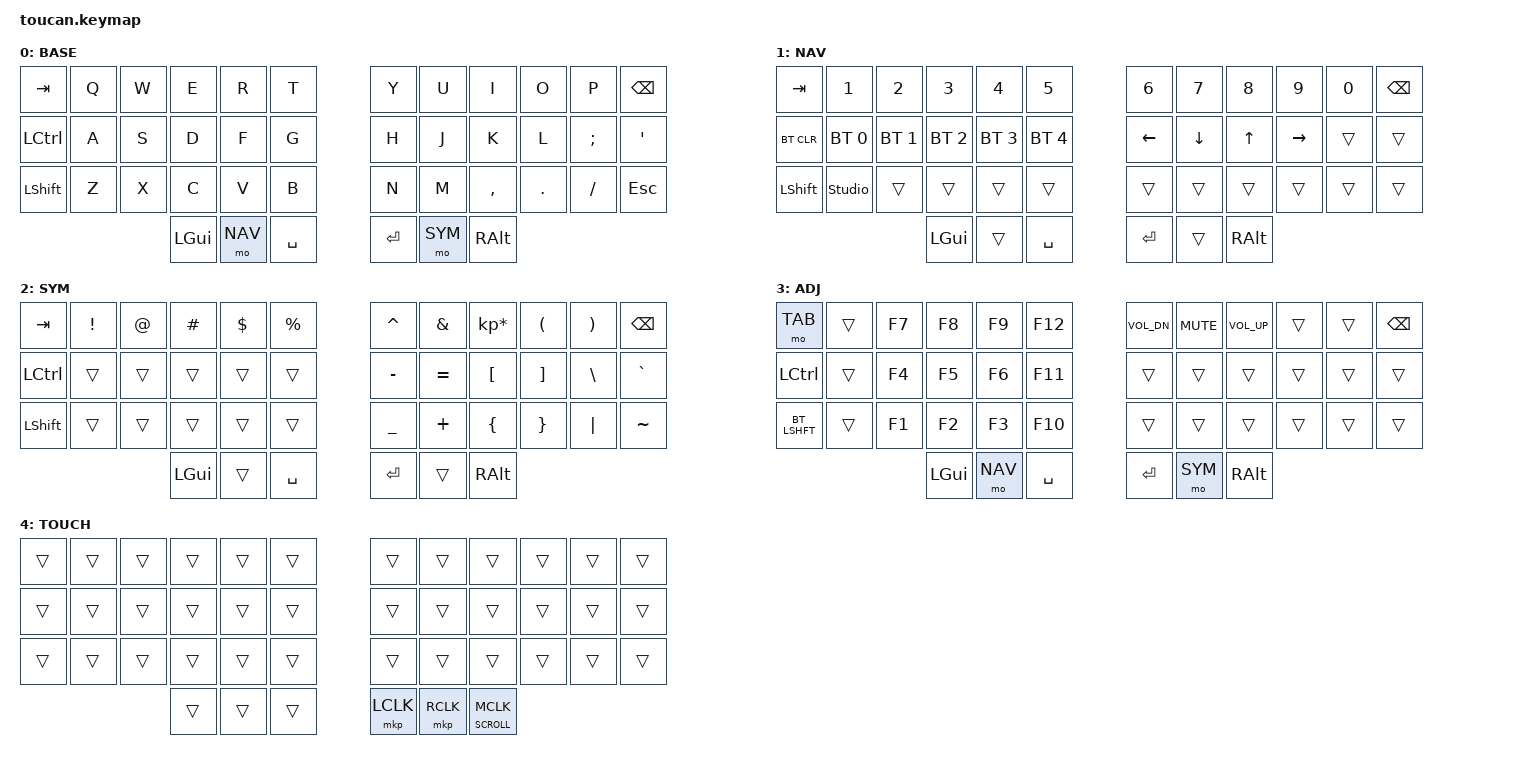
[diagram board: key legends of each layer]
#include <behaviors.dtsi>
#include <input/processors.dtsi>
#include <dt-bindings/zmk/keys.h>
#include <dt-bindings/zmk/bt.h>
#include <dt-bindings/zmk/outputs.h>
#include <dt-bindings/zmk/pointing.h>
#include <dt-bindings/zmk/input_transform.h>

#define BASE 0
#define NAV  1
#define SYM  2
#define ADJ  3
#define TOUCH 4
#define SCROLL 5

/ {
    behaviors {
        mclk_scroll: mclk_scroll {
            compatible = "zmk,behavior-hold-tap";
            #binding-cells = <2>;
            flavor = "balanced";
            tapping-term-ms = <200>;
            bindings = <&mo>, <&mkp>;
        };
    };

    conditional_layers {
        compatible = "zmk,conditional-layers";
        tri_layer {
            if-layers = <NAV SYM>;
            then-layer = <ADJ>;
        };
    };

#if 0 
    Not qutie ready - test with the exsitng toucan dtsi first...  Probably move the scroller stuff into this file
    touch_listener: touch_listener {
        compatible = "zmk,input-behavior-listener";
        device = <&glidepoint_split>;
        layers = <BASE>; // Only listen on default layer

        /* The binding logic: */
        evt-types = <INPUT_EV_KEY>;
        key-codes = <INPUT_BTN_TOUCH>; // Code 330: "Finger is on pad"
        bindings  = <&mo TOUCH>;       // Activate TOUCH layer while held
    };
#endif

    keymap {
        compatible = "zmk,keymap";

        base {
            display-name = "BASE";
            bindings = <
                &kp TAB   &kp Q &kp W &kp E &kp R &kp T   &kp Y &kp U  &kp I     &kp O   &kp P    &kp BSPC
                &kp LCTRL &kp A &kp S &kp D &kp F &kp G   &kp H &kp J  &kp K     &kp L   &kp SEMI &kp SQT
                &kp LSHFT &kp Z &kp X &kp C &kp V &kp B   &kp N &kp M  &kp COMMA &kp DOT &kp FSLH &kp ESC
                                &kp LGUI &mo NAV &kp SPACE   &kp RET &mo SYM &kp RALT
            >;
        };

        nav {
            display-name = "NAV";
            bindings = <
                &kp TAB     &kp N1          &kp N2       &kp N3       &kp N4       &kp N5         &kp N6   &kp N7   &kp N8 &kp N9    &kp N0 &kp BSPC
                &bt BT_CLR  &bt BT_SEL 0    &bt BT_SEL 1 &bt BT_SEL 2 &bt BT_SEL 3 &bt BT_SEL 4   &kp LEFT &kp DOWN &kp UP &kp RIGHT &trans &trans
                &kp LSHFT   &studio_unlock  &trans       &trans       &trans       &trans         &trans   &trans   &trans &trans    &trans &trans
                                                &kp LGUI     &trans       &kp SPACE      &kp RET  &trans   &kp RALT
            >;
        };

        sym {
            display-name = "SYM";
            bindings = <
                &kp TAB   &kp EXCL &kp AT &kp HASH &kp DLLR &kp PRCNT   &kp CARET &kp AMPS  &kp KP_MULTIPLY &kp LPAR &kp RPAR &kp BSPC
                &kp LCTRL &trans   &trans &trans   &trans   &trans      &kp MINUS &kp EQUAL &kp LBKT        &kp RBKT &kp BSLH &kp GRAVE
                &kp LSHFT &trans   &trans &trans   &trans   &trans      &kp UNDER &kp PLUS  &kp LBRC        &kp RBRC &kp PIPE &kp TILDE
                                          &kp LGUI &trans   &kp SPACE   &kp RET   &trans    &kp RALT
            >;
        };

        adj {
            display-name = "ADJ";
            bindings = <
                &mo TAB   &trans &kp F7 &kp F8 &kp F9 &kp F12   &kp C_VOL_DN &kp C_MUTE  &kp C_VOL_UP &trans &trans &kp BSPC
                &kp LCTRL &trans &kp F4 &kp F5 &kp F6 &kp F11   &trans       &trans      &trans       &trans &trans &trans
                &bt LSHFT &trans &kp F1 &kp F2 &kp F3 &kp F10   &trans       &trans      &trans       &trans &trans &trans
                                   &kp LGUI &mo NAV &kp SPACE   &kp RET &mo SYM &kp RALT
            >;
        };

        touch {
            display-name = "TOUCH";
            bindings = <
                &trans &trans &trans &trans &trans &trans   &trans &trans &trans &trans &trans &trans
                &trans &trans &trans &trans &trans &trans   &trans &trans &trans &trans &trans &trans
                &trans &trans &trans &trans &trans &trans   &trans &trans &trans &trans &trans &trans
                                     &trans &trans &trans   &mkp LCLK &mkp RCLK &mclk_scroll SCROLL MCLK
            >;
        };

        extra_1 {
                status = "reserved";
        };

        extra_2 {
                status = "reserved";
        };

        extra_3 {
                status = "reserved";
        };
    };
};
